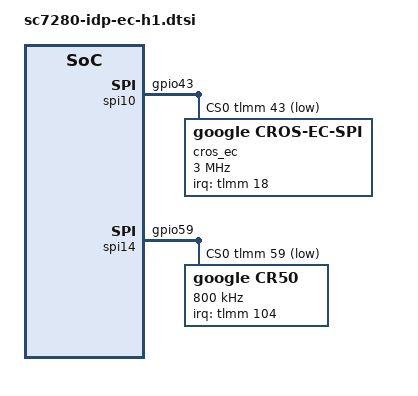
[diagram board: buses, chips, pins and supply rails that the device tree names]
// SPDX-License-Identifier: BSD-3-Clause
/*
 * sc7280 EC/H1 over SPI (common between IDP2 and CRD)
 *
 * Copyright (c) 2021 Qualcomm Innovation Center, Inc. All rights reserved.
 */

ap_ec_spi: &spi10 {
	status = "okay";

	pinctrl-0 = <&qup_spi10_data_clk>, <&qup_spi10_cs_gpio_init_high>, <&qup_spi10_cs_gpio>;
	cs-gpios = <&tlmm 43 GPIO_ACTIVE_LOW>;

	cros_ec: ec@0 {
		compatible = "google,cros-ec-spi";
		reg = <0>;
		interrupt-parent = <&tlmm>;
		interrupts = <18 IRQ_TYPE_LEVEL_LOW>;
		pinctrl-names = "default";
		pinctrl-0 = <&ap_ec_int_l>;
		spi-max-frequency = <3000000>;

		cros_ec_pwm: ec-pwm {
			compatible = "google,cros-ec-pwm";
			#pwm-cells = <1>;
		};

		i2c_tunnel: i2c-tunnel {
			compatible = "google,cros-ec-i2c-tunnel";
			google,remote-bus = <0>;
			#address-cells = <1>;
			#size-cells = <0>;
		};

		typec {
			compatible = "google,cros-ec-typec";
			#address-cells = <1>;
			#size-cells = <0>;

			usb_c0: connector@0 {
				compatible = "usb-c-connector";
				reg = <0>;
				label = "left";
				power-role = "dual";
				data-role = "host";
				try-power-role = "source";
			};

			usb_c1: connector@1 {
				compatible = "usb-c-connector";
				reg = <1>;
				label = "right";
				power-role = "dual";
				data-role = "host";
				try-power-role = "source";
			};
		};
	};
};

#include <arm/cros-ec-keyboard.dtsi>
#include <arm/cros-ec-sbs.dtsi>

ap_h1_spi: &spi14 {
	status = "okay";

	pinctrl-0 = <&qup_spi14_data_clk>, <&qup_spi14_cs_gpio_init_high>, <&qup_spi14_cs_gpio>;
	cs-gpios = <&tlmm 59 GPIO_ACTIVE_LOW>;

	cr50: tpm@0 {
		compatible = "google,cr50";
		reg = <0>;
		pinctrl-names = "default";
		pinctrl-0 = <&h1_ap_int_odl>;
		spi-max-frequency = <800000>;
		interrupt-parent = <&tlmm>;
		interrupts = <104 IRQ_TYPE_EDGE_RISING>;
	};
};

&tlmm {
	ap_ec_int_l: ap-ec-int-l {
		pins = "gpio18";
		function = "gpio";
		input-enable;
		bias-pull-up;
	};

	h1_ap_int_odl: h1-ap-int-odl {
		pins = "gpio104";
		function = "gpio";
		input-enable;
		bias-pull-up;
	};

	qup_spi10_cs_gpio_init_high: qup-spi10-cs-gpio-init-high {
		pins = "gpio43";
		output-high;
	};

	qup_spi14_cs_gpio_init_high: qup-spi14-cs-gpio-init-high {
		pins = "gpio59";
		output-high;
	};
};
